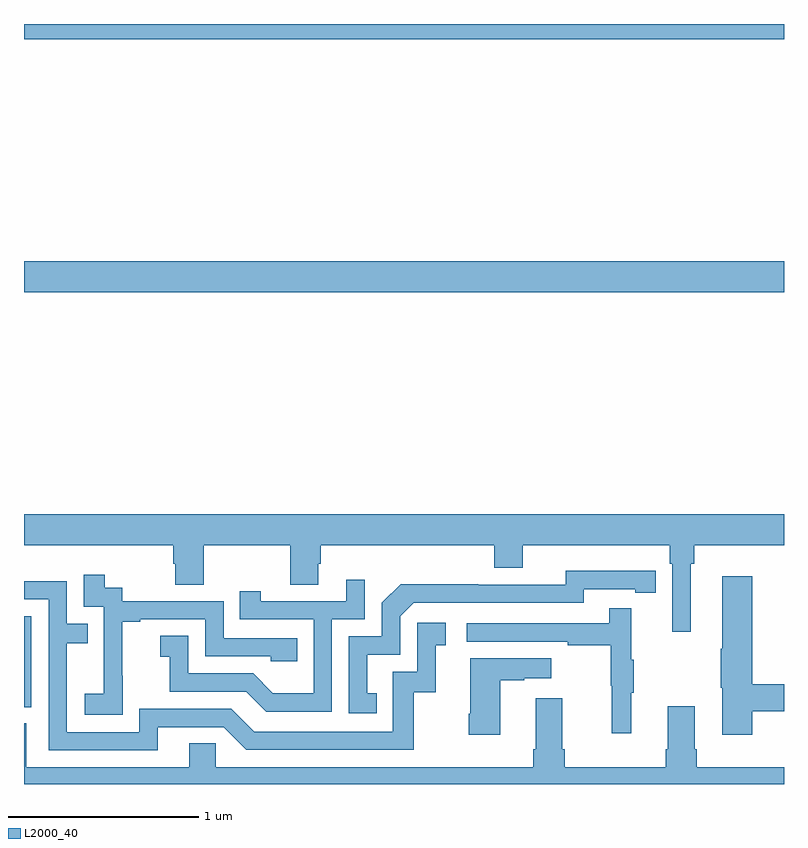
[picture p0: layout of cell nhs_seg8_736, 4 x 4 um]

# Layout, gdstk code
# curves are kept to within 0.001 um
import gdstk
lib = gdstk.Library(unit=1e-6, precision=1e-09)
def R(c, l, rs):  # rectangles x0, y0, x1, y1
    for r in rs: c.add(gdstk.rectangle(r[:2], r[2:], *l))
def P(c, l, *ps):  # polygons
    for p in ps: c.add(gdstk.Polygon(p, *l))
L2000_40 = (2000, 40)

nhs_seg8_736 = lib.new_cell('nhs_seg8_736')
R(nhs_seg8_736, L2000_40, [(159,1126.305,159.039,1126.782), (159,1128.488,163,1128.652), (159,1129.82,163,1129.9)])
P(nhs_seg8_736, L2000_40, [(159,1127.156),(159.785,1127.156),(159.785,1127.058),(159.797,1127.058),(159.797,1126.948),(159.945,1126.948),(159.945,1127.156),(160.402,1127.156),(160.402,1126.948),(160.549,1126.948),(160.549,1127.058),(160.562,1127.058),(160.562,1127.156),(161.474,1127.156),(161.474,1127.039),(161.626,1127.039),(161.626,1127.156),(162.398,1127.156),(162.398,1127.06),(162.411,1127.06),(162.411,1126.701),(162.508,1126.701),(162.508,1127.06),(162.527,1127.06),(162.527,1127.156),(163,1127.156),(163,1127.32),(159,1127.32)],
  [(160.856,1126.377),(160.807,1126.377),(160.807,1126.581),(160.98,1126.581),(160.98,1126.782),(161.052,1126.854),(161.946,1126.854),(161.946,1126.926),(162.218,1126.926),(162.218,1126.906),(162.326,1126.906),(162.326,1127.022),(161.85,1127.023),(161.85,1126.95),(161.39,1126.95),(161.39,1126.952),(160.982,1126.952),(160.884,1126.854),(160.884,1126.677),(160.71,1126.677),(160.71,1126.272),(160.856,1126.272)],
  [(159.519,1126.471),(159.518,1126.471),(159.518,1126.755),(159.613,1126.755),(159.613,1126.767),(159.954,1126.767),(159.954,1126.572),(160.299,1126.572),(160.299,1126.545),(160.439,1126.545),(160.439,1126.668),(160.05,1126.668),(160.05,1126.863),(159.516,1126.863),(159.516,1126.932),(159.424,1126.932),(159.424,1127.002),(159.315,1127.002),(159.315,1126.833),(159.42,1126.833),(159.42,1126.604),(159.419,1126.604),(159.419,1126.375),(159.321,1126.375),(159.321,1126.265),(159.519,1126.265)],
  [(162.833,1126.282),(163,1126.282),(163,1126.424),(162.833,1126.424),(162.833,1126.993),(162.674,1126.993),(162.674,1126.613),(162.667,1126.613),(162.667,1126.407),(162.674,1126.407),(162.674,1126.158),(162.833,1126.158)],
  [(160.62,1126.767),(160.794,1126.767),(160.794,1126.975),(160.697,1126.975),(160.697,1126.863),(160.246,1126.863),(160.246,1126.915),(160.135,1126.915),(160.135,1126.767),(160.524,1126.767),(160.524,1126.378),(160.31,1126.378),(160.206,1126.482),(159.864,1126.482),(159.864,1126.681),(159.717,1126.681),(159.717,1126.571),(159.766,1126.571),(159.766,1126.386),(160.169,1126.386),(160.274,1126.281),(160.62,1126.281)],
  [(159.703,1126.2),(160.05,1126.2),(160.17,1126.08),(161.05,1126.08),(161.05,1126.383),(161.168,1126.383),(161.168,1126.629),(161.221,1126.629),(161.221,1126.75),(161.07,1126.75),(161.07,1126.491),(160.941,1126.491),(160.941,1126.176),(160.212,1126.176),(160.092,1126.296),(159.606,1126.296),(159.606,1126.173),(159.225,1126.173),(159.225,1126.642),(159.335,1126.642),(159.335,1126.743),(159.225,1126.743),(159.225,1126.968),(159,1126.968),(159,1126.872),(159.129,1126.872),(159.129,1126.077),(159.703,1126.077)],
  [(162.197,1126.379),(162.208,1126.379),(162.208,1126.553),(162.197,1126.553),(162.197,1126.825),(162.079,1126.825),(162.079,1126.746),(161.331,1126.746),(161.331,1126.65),(161.863,1126.65),(161.863,1126.63),(162.087,1126.63),(162.087,1126.416),(162.094,1126.416),(162.094,1126.167),(162.197,1126.167)],
  [(161.506,1126.447),(161.633,1126.447),(161.633,1126.457),(161.776,1126.457),(161.776,1126.561),(161.348,1126.561),(161.348,1126.27),(161.341,1126.27),(161.341,1126.158),(161.506,1126.158)],
  [(163,1125.988),(162.542,1125.988),(162.542,1126.084),(162.529,1126.084),(162.529,1126.309),(162.389,1126.309),(162.389,1126.084),(162.377,1126.084),(162.377,1125.988),(161.846,1125.988),(161.846,1126.084),(161.833,1126.084),(161.833,1126.351),(161.693,1126.351),(161.693,1126.084),(161.681,1126.084),(161.681,1125.988),(160.008,1125.988),(160.008,1126.115),(159.869,1126.115),(159.869,1125.988),(159.013,1125.988),(159.013,1126.22),(159,1126.22),(159,1125.9),(163,1125.9)])

lib.write_gds('nhs_seg8_736.gds')
